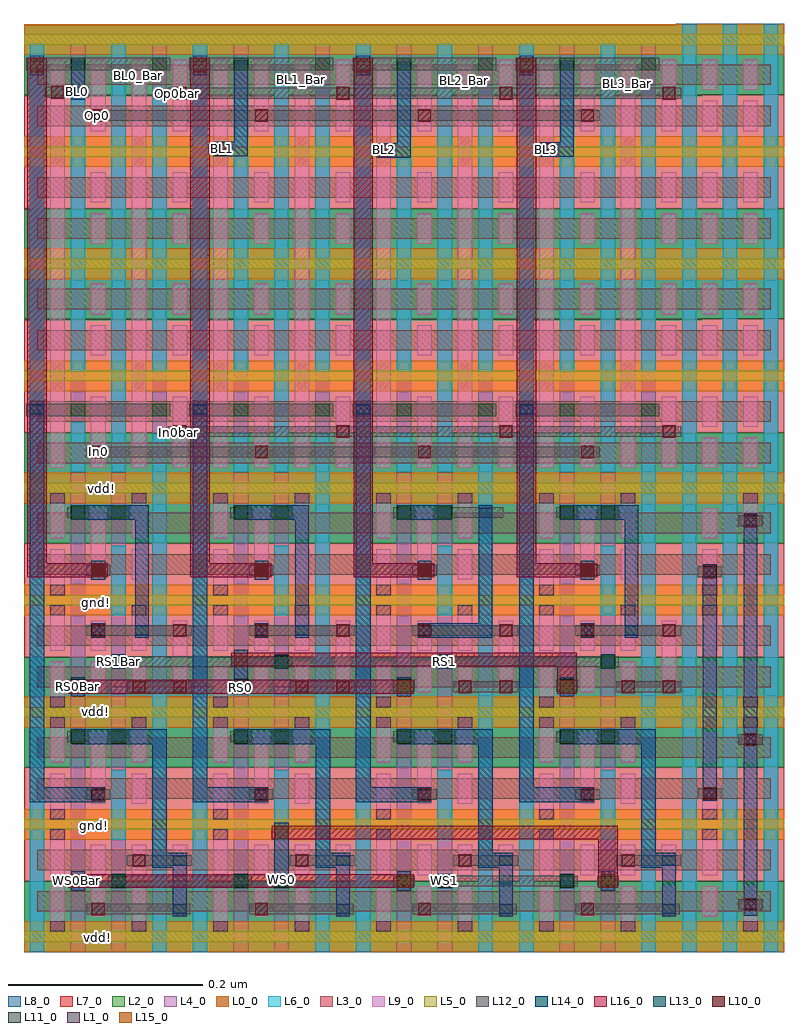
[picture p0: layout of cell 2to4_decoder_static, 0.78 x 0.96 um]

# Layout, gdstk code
from math import pi, radians
import gdstk
lib = gdstk.Library(unit=1e-6, precision=5e-10)
def R(c, l, rs):  # rectangles x0, y0, x1, y1
    for r in rs: c.add(gdstk.rectangle(r[:2], r[2:], *l))
def A(c, l, x, y, w, h, nx, ny, dx, dy):  # array of equal rectangles
    R(c, l, [(x+i*dx, y+j*dy, x+i*dx+w, y+j*dy+h) for i in range(nx) for j in range(ny)])
L0_0 = (0, 0)
L1_0 = (1, 0)
L2_0 = (2, 0)
L3_0 = (3, 0)
L4_0 = (4, 0)
L5_0 = (5, 0)
L6_0 = (6, 0)
L7_0 = (7, 0)
L8_0 = (8, 0)
L9_0 = (9, 0)
L10_0 = (10, 0)
L11_0 = (11, 0)
L12_0 = (12, 0)
L13_0 = (13, 0)
L14_0 = (14, 0)
L15_0 = (15, 0)
L16_0 = (16, 0)

pmos = lib.new_cell('pmos')
R(pmos, L2_0, [(-0.042,-0.0205,0.042,0.0205)])
R(pmos, L3_0, [(-0.042,-0.0105,0.042,0.0105)])
A(pmos, L4_0, -0.0495, -0.032, 0.015, 0.064, 3, 1, 0.042, 0)
R(pmos, L8_0, [(-0.0555,-0.0205,0.0555,0.0205)])
R(pmos, L9_0, [(-0.0285,-0.0155,-0.0135,0.0155), (0.0135,-0.0155,0.0285,0.0155)])

gate_m0b = lib.new_cell('GATE_M0B')
R(gate_m0b, L4_0, [(-0.0075,-0.0115,0.0075,0.0115)])
R(gate_m0b, L11_0, [(-0.0075,-0.0065,0.0075,0.0065)])
R(gate_m0b, L12_0, [(-0.011,-0.0055,0.011,0.0055)])

bpr_m0a = lib.new_cell('BPR_M0A')
R(bpr_m0a, L0_0, [(-0.021,-0.0055,0.021,0.026)])
R(bpr_m0a, L1_0, [(-0.0075,-0.0055,0.0075,0.005)])
R(bpr_m0a, L9_0, [(-0.0075,-0.0165,0.0075,0.005)])

nmos = lib.new_cell('nmos')
R(nmos, L3_0, [(-0.042,-0.0105,0.042,0.0105)])
A(nmos, L4_0, -0.0495, -0.032, 0.015, 0.064, 3, 1, 0.042, 0)
R(nmos, L7_0, [(-0.0555,-0.021,0.0555,0.0205)])
R(nmos, L9_0, [(-0.0285,-0.0155,-0.0135,0.0155), (0.0135,-0.0155,0.0285,0.0155)])

m0b_m1 = lib.new_cell('M0B_M1')
R(m0b_m1, L12_0, [(-0.011,-0.005,0.011,0.005)])
R(m0b_m1, L13_0, [(-0.007,-0.005,0.007,0.005)])
R(m0b_m1, L14_0, [(-0.007,-0.0075,0.007,0.0075)])

m0a_m0b = lib.new_cell('M0A_M0B')
R(m0a_m0b, L9_0, [(-0.0075,-0.0055,0.0075,0.0055)])
R(m0a_m0b, L10_0, [(-0.0065,-0.0065,0.0065,0.0065)])
R(m0a_m0b, L12_0, [(-0.0125,-0.0055,0.0125,0.0055)])

nor = lib.new_cell('nor')
R(nor, L0_0, [(0.157,0.0005,0.352,0.032), (0.186,0.009,0.1965,0.016), (0.157,0.116,0.352,0.1475), (0.1885,0.1335,0.1945,0.1415)])
R(nor, L2_0, [(0.157,0.075,0.352,0.1325)])
A(nor, L4_0, 0.163, 0.0005, 0.015, 0.147, 5, 1, 0.042, 0)
R(nor, L5_0, [(0.157,0.011,0.352,0.0215), (0.157,0.1265,0.352,0.137)])
R(nor, L6_0, [(0.163,0.0005,0.178,0.1475), (0.289,0.0005,0.304,0.1475), (0.331,0.0005,0.346,0.1475)])
R(nor, L7_0, [(0.157,0.0005,0.352,0.075)])
R(nor, L8_0, [(0.157,0.075,0.352,0.148)])
R(nor, L9_0, [(0.31,0.0635,0.325,0.0955)])
R(nor, L12_0, [(0.221,0.042,0.325,0.053), (0.263,0.1,0.33,0.111)])
R(nor, L14_0, [(0.2315,0.0455,0.2355,0.0495), (0.253,0.0775,0.2565,0.0805), (0.209,0.1035,0.2155,0.1085)])
nor.add(gdstk.Reference(bpr_m0a, (0.1915,0.1215)))
nor.add(gdstk.Reference(bpr_m0a, (0.2755,0.0265), rotation=pi))
nor.add(gdstk.Reference(bpr_m0a, (0.1915,0.0265), rotation=pi))
nor.add(gdstk.Reference(nmos, (0.2965,0.053)))
nor.add(gdstk.Reference(nmos, (0.2545,0.053)))
nor.add(gdstk.Reference(nmos, (0.2125,0.053)))
nor.add(gdstk.Reference(pmos, (0.2965,0.0955)))
nor.add(gdstk.Reference(pmos, (0.2545,0.0955)))
nor.add(gdstk.Reference(pmos, (0.2125,0.0955)))
nor.add(gdstk.Reference(m0b_m1, (0.2545,0.0795)))
nor.add(gdstk.Reference(m0b_m1, (0.2125,0.1055)))
nor.add(gdstk.Reference(m0b_m1, (0.2335,0.0475)))
nor.add(gdstk.Reference(m0a_m0b, (0.3175,0.0475)))
nor.add(gdstk.Reference(m0a_m0b, (0.3175,0.1055)))
nor.add(gdstk.Reference(m0a_m0b, (0.2755,0.1055)))
nor.add(gdstk.Reference(m0a_m0b, (0.2335,0.0475)))
nor.add(gdstk.Reference(gate_m0b, (0.2545,0.0795)))
nor.add(gdstk.Reference(gate_m0b, (0.2125,0.104)))
nor.add(gdstk.Label('Y', (0.2335,0.0475), layer=14, texttype=0))
nor.add(gdstk.Label('B', (0.2545,0.079), layer=14, texttype=0))
nor.add(gdstk.Label('A', (0.212,0.106), layer=14, texttype=0))
nor.add(gdstk.Label('gnd!', (0.191,0.0125), layer=0, texttype=0))
nor.add(gdstk.Label('vdd!', (0.1915,0.1375), layer=0, texttype=0))

inv = lib.new_cell('inv')
R(inv, L0_0, [(0,0,0.153,0.0315), (0.025,0.006,0.0415,0.016), (0,0.1155,0.153,0.147), (0.11,0.131,0.125,0.1425)])
R(inv, L2_0, [(0,0.0745,0.153,0.147)])
A(inv, L4_0, 0.006, 0, 0.015, 0.147, 4, 1, 0.042, 0)
R(inv, L5_0, [(0,0.0105,0.153,0.021), (0,0.126,0.153,0.1365)])
R(inv, L6_0, [(0.006,0,0.021,0.147), (0.09,0,0.105,0.0715), (0.132,0,0.147,0.147)])
R(inv, L7_0, [(0,0,0.153,0.0745)])
R(inv, L8_0, [(0,0.075,0.153,0.1475)])
R(inv, L9_0, [(0.069,0.068,0.084,0.0795)])
R(inv, L12_0, [(0.0915,0.103,0.1055,0.1095)])
R(inv, L14_0, [(0.071,0.0415,0.0815,0.051), (0.0485,0.0985,0.1045,0.1135)])
inv.add(gdstk.Reference(nmos, (0.0975,0.0525)))
inv.add(gdstk.Reference(nmos, (0.0555,0.0525)))
inv.add(gdstk.Reference(pmos, (0.0975,0.095)))
inv.add(gdstk.Reference(pmos, (0.0555,0.095)))
inv.add(gdstk.Reference(bpr_m0a, (0.0345,0.026), rotation=pi))
inv.add(gdstk.Reference(bpr_m0a, (0.0345,0.121)))
inv.add(gdstk.Reference(bpr_m0a, (0.1185,0.121)))
inv.add(gdstk.Reference(m0a_m0b, (0.0765,0.0465)))
inv.add(gdstk.Reference(gate_m0b, (0.0555,0.106)))
inv.add(gdstk.Reference(gate_m0b, (0.0975,0.106)))
inv.add(gdstk.Reference(m0b_m1, (0.0555,0.106)))
inv.add(gdstk.Reference(m0b_m1, (0.0765,0.0465)))
inv.add(gdstk.Reference(m0b_m1, (0.0975,0.106)))
inv.add(gdstk.Label('vdd!', (0.1175,0.1365), layer=0, texttype=0))
inv.add(gdstk.Label('gnd!', (0.033,0.011), layer=0, texttype=0))
inv.add(gdstk.Label('out', (0.075,0.0435), layer=14, texttype=0))
inv.add(gdstk.Label('in', (0.0985,0.1045), layer=14, texttype=0))

nand = lib.new_cell('nand')
R(nand, L0_0, [(0.1045,0.057,0.2155,0.0885), (0.1465,0.057,0.2995,0.0885), (0.133,0.0665,0.142,0.074), (0.1045,0.1725,0.2155,0.204), (0.1465,0.1725,0.2995,0.204), (0.137,0.192,0.143,0.198)])
R(nand, L2_0, [(0.1045,0.1315,0.2155,0.204), (0.1465,0.1315,0.2995,0.204)])
A(nand, L4_0, 0.1105, 0.057, 0.015, 0.147, 5, 1, 0.042, 0)
R(nand, L4_0, [(0.2785,0.057,0.2935,0.204)])
R(nand, L5_0, [(0.1045,0.0675,0.2995,0.078), (0.1045,0.183,0.2995,0.1935)])
R(nand, L6_0, [(0.1105,0.057,0.1255,0.204), (0.2365,0.057,0.2515,0.204), (0.2785,0.057,0.2935,0.204)])
R(nand, L7_0, [(0.1045,0.057,0.2155,0.1315), (0.1465,0.057,0.2995,0.1315)])
R(nand, L8_0, [(0.1045,0.132,0.2155,0.2045), (0.1465,0.133,0.2995,0.2045)])
R(nand, L12_0, [(0.2105,0.1045,0.2775,0.1155), (0.1685,0.1545,0.276,0.1655)])
R(nand, L14_0, [(0.258,0.1025,0.272,0.1675), (0.1575,0.129,0.162,0.134), (0.2,0.1295,0.204,0.133), (0.262,0.1575,0.2675,0.1625)])
nand.add(gdstk.Reference(nmos, (0.244,0.1095), rotation=pi, x_reflection=True))
nand.add(gdstk.Reference(nmos, (0.16,0.1095), rotation=pi, x_reflection=True))
nand.add(gdstk.Reference(pmos, (0.16,0.152), rotation=pi, x_reflection=True))
nand.add(gdstk.Reference(pmos, (0.202,0.152), rotation=pi, x_reflection=True))
nand.add(gdstk.Reference(pmos, (0.244,0.152), rotation=pi, x_reflection=True))
nand.add(gdstk.Reference(bpr_m0a, (0.139,0.178), rotation=pi, x_reflection=True))
nand.add(gdstk.Reference(bpr_m0a, (0.139,0.083), x_reflection=True))
nand.add(gdstk.Reference(bpr_m0a, (0.223,0.178), rotation=pi, x_reflection=True))
nand.add(gdstk.Reference(m0a_m0b, (0.181,0.16)))
nand.add(gdstk.Reference(m0a_m0b, (0.223,0.11)))
nand.add(gdstk.Reference(m0b_m1, (0.265,0.16)))
nand.add(gdstk.Reference(m0b_m1, (0.265,0.11)))
nand.add(gdstk.Reference(m0b_m1, (0.202,0.131)))
nand.add(gdstk.Reference(m0b_m1, (0.16,0.131)))
nand.add(gdstk.Reference(gate_m0b, (0.202,0.131)))
nand.add(gdstk.Reference(gate_m0b, (0.16,0.131)))
nand.add(gdstk.Label('Y', (0.2645,0.16), layer=14, texttype=0))
nand.add(gdstk.Label('A', (0.1595,0.1315), layer=14, texttype=0))
nand.add(gdstk.Label('B', (0.202,0.131), layer=14, texttype=0))
nand.add(gdstk.Label('gnd!', (0.1375,0.07), layer=0, texttype=0))
nand.add(gdstk.Label('vdd!', (0.14,0.195), layer=0, texttype=0))

c_2to4_decoder_static_fill = lib.new_cell('2to4_decoder_static_filler_17')
R(c_2to4_decoder_static_fill, L0_0, [(0,0,0.111,0.0315), (0.071,0.0115,0.083,0.0245), (0,0.1155,0.111,0.147), (0.071,0.121,0.0845,0.141)])
R(c_2to4_decoder_static_fill, L2_0, [(0,0.0745,0.111,0.147)])
A(c_2to4_decoder_static_fill, L4_0, 0.006, 0, 0.015, 0.147, 3, 1, 0.042, 0)
R(c_2to4_decoder_static_fill, L5_0, [(0,0.0105,0.111,0.021), (0,0.126,0.111,0.1365)])
A(c_2to4_decoder_static_fill, L6_0, 0.006, 0, 0.015, 0.147, 3, 1, 0.042, 0)
R(c_2to4_decoder_static_fill, L7_0, [(0,0,0.111,0.0745)])
R(c_2to4_decoder_static_fill, L8_0, [(0,0.075,0.111,0.1475)])
c_2to4_decoder_static_fill.add(gdstk.Reference(pmos, (0.0555,0.095)))
c_2to4_decoder_static_fill.add(gdstk.Reference(nmos, (0.0555,0.0525)))

m1_m2 = lib.new_cell('M1_M2')
R(m1_m2, L14_0, [(-0.007,-0.01,0.007,0.01)])
R(m1_m2, L15_0, [(-0.007,-0.007,0.007,0.007)])
R(m1_m2, L16_0, [(-0.01,-0.007,0.01,0.007)])

c_2to4_decoder_static = lib.new_cell('2to4_decoder_static')
A(c_2to4_decoder_static, L0_0, 0, 0, 0.783, 0.0315, 1, 6, 0, 0.1155)
A(c_2to4_decoder_static, L0_0, 0, 0.462, 0.699, 0.0315, 1, 3, 0, 0.1155)
R(c_2to4_decoder_static, L0_0, [(0.0695,0.0085,0.082,0.022), (0.0685,0.127,0.077,0.1345), (0.123,0.231,0.247,0.2625), (0.2945,0.231,0.4185,0.2625), (0.4715,0.231,0.5955,0.2625), (0.569,0.231,0.693,0.2625), (0.067,0.241,0.0805,0.2545), (0.064,0.3525,0.0855,0.368), (0,0.462,0.699,0.4935), (0.073,0.4725,0.0865,0.482), (0,0.693,0.699,0.7245), (0,0.8085,0.699,0.84), (0,0.8085,0.699,0.84), (0,0.924,0.699,0.9555)])
R(c_2to4_decoder_static, L2_0, [(0,0.19,0.783,0.3035), (0,0.421,0.783,0.5345), (0,0.6505,0.699,0.7235), (0,0.692,0.699,0.765), (0,0.8815,0.699,0.9545)])
A(c_2to4_decoder_static, L3_0, 0.1395, 0.1575, 0.042, 0.021, 4, 2, 0.168, 0.0425)
A(c_2to4_decoder_static, L3_0, 0.3075, 0.3885, 0.042, 0.021, 3, 2, 0.168, 0.0425)
R(c_2to4_decoder_static, L3_0, [(0.1395,0.3885,0.1815,0.4095), (0.3075,0.3885,0.3495,0.4095), (0.1395,0.431,0.1815,0.452), (0.3075,0.431,0.3495,0.452)])
A(c_2to4_decoder_static, L4_0, 0.006, 0.581, 0.015, 0.034, 16, 2, 0.042, 0.231)
A(c_2to4_decoder_static, L4_0, 0.048, 0.695, 0.015, 0.0605, 15, 1, 0.042, 0)
A(c_2to4_decoder_static, L4_0, 0.048, 0.8005, 0.015, 0.034, 16, 1, 0.042, 0)
R(c_2to4_decoder_static, L4_0, [(0.006,0,0.021,0.8005), (0.678,0,0.693,0.9545), (0.678,0.231,0.693,0.4935), (0.342,0.582,0.357,0.607), (0.678,0.582,0.693,0.607), (0.342,0.615,0.357,0.692), (0.678,0.615,0.693,0.692), (0.342,0.7235,0.357,0.8005), (0.006,0.8085,0.021,0.8335), (0.342,0.8085,0.357,0.8335), (0.342,0.813,0.357,0.838), (0.678,0.813,0.693,0.838), (0.342,0.846,0.357,0.923), (0.678,0.846,0.693,0.923)])
A(c_2to4_decoder_static, L5_0, 0, 0.4725, 0.699, 0.0105, 1, 3, 0, 0.1155)
R(c_2to4_decoder_static, L5_0, [(0,0.7035,0.699,0.714), (0,0.819,0.699,0.8295), (0,0.819,0.699,0.8295), (0,0.9345,0.699,0.945)])
A(c_2to4_decoder_static, L6_0, 0.09, 0.494, 0.015, 0.0395, 4, 1, 0.168, 0)
A(c_2to4_decoder_static, L6_0, 0.216, 0.494, 0.015, 0.04, 3, 1, 0.168, 0)
A(c_2to4_decoder_static, L6_0, 0.174, 0.505, 0.015, 0.107, 6, 1, 0.084, 0)
A(c_2to4_decoder_static, L6_0, 0.048, 0.5975, 0.015, 0.051, 4, 1, 0.084, 0)
A(c_2to4_decoder_static, L6_0, 0.09, 0.5975, 0.015, 0.106, 7, 1, 0.084, 0)
A(c_2to4_decoder_static, L6_0, 0.384, 0.5975, 0.015, 0.051, 4, 1, 0.084, 0)
A(c_2to4_decoder_static, L6_0, 0.3, 0.6405, 0.015, 0.239, 3, 1, 0.084, 0)
A(c_2to4_decoder_static, L6_0, 0.09, 0.692, 0.015, 0.126, 5, 1, 0.084, 0)
A(c_2to4_decoder_static, L6_0, 0.048, 0.767, 0.015, 0.051, 3, 2, 0.084, 0.0615)
A(c_2to4_decoder_static, L6_0, 0.09, 0.767, 0.015, 0.1125, 8, 1, 0.084, 0)
A(c_2to4_decoder_static, L6_0, 0.3, 0.767, 0.015, 0.051, 3, 2, 0.042, 0.0615)
A(c_2to4_decoder_static, L6_0, 0.09, 0.8285, 0.015, 0.107, 7, 1, 0.084, 0)
R(c_2to4_decoder_static, L6_0, [(0.678,0,0.693,0.9545), (0.006,0.482,0.021,0.9355), (0.132,0.482,0.147,0.5335), (0.174,0.482,0.189,0.5335), (0.3,0.482,0.315,0.5335), (0.342,0.482,0.357,0.5335), (0.468,0.482,0.483,0.5335), (0.51,0.482,0.525,0.5305), (0.636,0.482,0.651,0.5335), (0.342,0.4825,0.357,0.5335), (0.048,0.494,0.063,0.5455), (0.09,0.494,0.105,0.601), (0.342,0.5975,0.357,0.6485), (0.678,0.5975,0.693,0.6485), (0.132,0.623,0.147,0.8795), (0.552,0.63,0.567,0.8795), (0.048,0.6405,0.063,0.8795), (0.636,0.6405,0.651,0.8795), (0.216,0.6485,0.231,0.8795), (0.51,0.673,0.525,0.818), (0.594,0.673,0.609,0.818), (0.006,0.767,0.021,0.818), (0.216,0.767,0.231,0.818), (0.3,0.767,0.315,0.818), (0.384,0.767,0.399,0.818), (0.468,0.767,0.483,0.818), (0.468,0.767,0.483,0.818), (0.552,0.767,0.567,0.818), (0.552,0.767,0.567,0.818), (0.636,0.767,0.651,0.818), (0.636,0.767,0.651,0.818), (0.216,0.8285,0.231,0.8795), (0.3,0.8285,0.315,0.8795), (0.384,0.8285,0.399,0.8795), (0.468,0.8285,0.483,0.8795), (0.468,0.8285,0.483,0.8795), (0.552,0.8285,0.567,0.8795), (0.552,0.8285,0.567,0.8795), (0.636,0.8285,0.651,0.8795), (0.636,0.8285,0.651,0.8795), (0.678,0.8285,0.693,0.8795)])
A(c_2to4_decoder_static, L7_0, 0, 0.0725, 0.699, 0.1175, 1, 4, 0, 0.231)
R(c_2to4_decoder_static, L8_0, [(0,0.19,0.699,0.3035), (0,0.421,0.699,0.5345), (0,0.427,0.699,0.5345), (0,0.652,0.699,0.724), (0,0.6915,0.699,0.7645), (0,0.883,0.699,0.955)])
A(c_2to4_decoder_static, L9_0, 0.153, 0.5095, 0.015, 0.046, 4, 1, 0.168, 0)
A(c_2to4_decoder_static, L9_0, 0.069, 0.5245, 0.015, 0.047, 4, 1, 0.168, 0)
A(c_2to4_decoder_static, L9_0, 0.069, 0.8715, 0.015, 0.0215, 8, 1, 0.084, 0)
R(c_2to4_decoder_static, L9_0, [(0.279,0.5205,0.294,0.851), (0.615,0.5205,0.63,0.852), (0.195,0.5225,0.21,0.8435), (0.531,0.5225,0.546,0.8435), (0.111,0.526,0.126,0.847), (0.447,0.526,0.462,0.847), (0.027,0.528,0.042,0.849), (0.363,0.528,0.378,0.849), (0.363,0.817,0.378,0.853), (0.531,0.818,0.546,0.854), (0.195,0.8185,0.21,0.8545), (0.447,0.8675,0.462,0.8925), (0.615,0.8685,0.63,0.888), (0.279,0.869,0.294,0.8885), (0.363,0.87,0.378,0.888), (0.531,0.871,0.546,0.889), (0.111,0.8715,0.126,0.891), (0.195,0.8715,0.21,0.8895), (0.027,0.874,0.042,0.892), (0.618,0.8915,0.626,0.898), (0.4495,0.8945,0.459,0.902), (0.2815,0.8955,0.2905,0.9025), (0.1145,0.901,0.1215,0.904), (0.447,0.9035,0.462,0.9145), (0.615,0.9045,0.63,0.9155), (0.279,0.905,0.294,0.916), (0.111,0.9075,0.126,0.9185)])
A(c_2to4_decoder_static, L12_0, 0.0025, 0.5515, 0.065, 0.013, 4, 1, 0.168, 0)
A(c_2to4_decoder_static, L12_0, 0.0445, 0.5515, 0.106, 0.013, 4, 2, 0.168, 0.3565)
R(c_2to4_decoder_static, L12_0, [(0.0865,0.0675,0.2345,0.0785), (0.4225,0.0675,0.5705,0.0785), (0.4275,0.0695,0.439,0.0765), (0.0885,0.0705,0.103,0.075), (0.0865,0.2935,0.2765,0.3045), (0.4225,0.2935,0.6125,0.3045), (0.4225,0.447,0.494,0.458), (0.064,0.5095,0.593,0.5205), (0.07,0.5125,0.083,0.5175), (0.148,0.5305,0.677,0.5415), (0.1555,0.532,0.1635,0.5385), (0.064,0.856,0.593,0.867), (0.072,0.86,0.079,0.8645), (0.148,0.879,0.677,0.89), (0.022,0.88,0.0665,0.891), (0.1555,0.8825,0.1605,0.8865), (0.0025,0.908,0.0665,0.921), (0.1705,0.908,0.2325,0.921), (0.3385,0.908,0.4025,0.921), (0.5065,0.908,0.5705,0.921)])
A(c_2to4_decoder_static, L14_0, 0.006, 0.154, 0.015, 0.4135, 4, 1, 0.168, 0)
A(c_2to4_decoder_static, L14_0, 0.006, 0.154, 0.0775, 0.0155, 4, 1, 0.168, 0)
R(c_2to4_decoder_static, L14_0, [(0.7415,0.037,0.7555,0.4515), (0.258,0.0655,0.273,0.133), (0.258,0.07,0.273,0.079), (0.132,0.0865,0.1675,0.102), (0.3005,0.0865,0.336,0.102), (0.468,0.0865,0.5035,0.102), (0.636,0.0865,0.6715,0.102), (0.132,0.0885,0.147,0.229), (0.3005,0.0885,0.3155,0.229), (0.468,0.0885,0.483,0.229), (0.636,0.0885,0.651,0.229), (0.6995,0.1555,0.7135,0.399), (0.0975,0.214,0.147,0.229), (0.266,0.214,0.3155,0.229), (0.4335,0.214,0.483,0.229), (0.6015,0.214,0.651,0.229), (0.049,0.267,0.061,0.2795), (0.2165,0.2685,0.2305,0.311), (0.2195,0.2695,0.227,0.2755), (0.091,0.293,0.104,0.3055), (0.4285,0.295,0.439,0.3015), (0.1145,0.3235,0.1285,0.46), (0.2795,0.3235,0.2935,0.46), (0.4055,0.3235,0.4825,0.3385), (0.4685,0.3235,0.4825,0.46), (0.619,0.3235,0.633,0.46), (0.084,0.445,0.1285,0.46), (0.249,0.445,0.2935,0.46), (0.5885,0.445,0.633,0.46), (0.3635,0.818,0.3985,0.833), (0.3845,0.818,0.3985,0.917), (0.5315,0.819,0.5665,0.834), (0.5525,0.819,0.5665,0.918), (0.1955,0.8195,0.2305,0.8345), (0.2165,0.8195,0.2305,0.9185), (0.367,0.823,0.376,0.829), (0.2,0.8235,0.209,0.8315), (0.535,0.8235,0.542,0.8305), (0.0485,0.878,0.0625,0.921), (0.05,0.8825,0.06,0.89)])
R(c_2to4_decoder_static, L16_0, [(0.0455,0.066,0.4015,0.08), (0.0455,0.066,0.063,0.08), (0.5915,0.066,0.6115,0.13), (0.2555,0.116,0.609,0.13), (0.0455,0.266,0.4015,0.28), (0.5495,0.266,0.5695,0.308), (0.2135,0.294,0.5695,0.308), (0.0035,0.386,0.0235,0.921), (0.0035,0.386,0.0865,0.4), (0.1715,0.386,0.252,0.4), (0.1715,0.386,0.1915,0.921), (0.3395,0.386,0.3595,0.9205), (0.3395,0.386,0.4225,0.4), (0.5075,0.386,0.588,0.4), (0.5075,0.3865,0.5275,0.921)])
c_2to4_decoder_static.add(gdstk.Reference(pmos, (0.6435,0.745), rotation=pi))
c_2to4_decoder_static.add(gdstk.Reference(pmos, (0.1395,0.745), rotation=pi))
c_2to4_decoder_static.add(gdstk.Reference(pmos, (0.0555,0.745), rotation=pi))
c_2to4_decoder_static.add(gdstk.Reference(pmos, (0.3075,0.745), rotation=pi))
c_2to4_decoder_static.add(gdstk.Reference(pmos, (0.2235,0.745), rotation=pi))
c_2to4_decoder_static.add(gdstk.Reference(pmos, (0.5595,0.745), rotation=pi))
c_2to4_decoder_static.add(gdstk.Reference(pmos, (0.4755,0.745), rotation=pi))
c_2to4_decoder_static.add(gdstk.Reference(pmos, (0.3915,0.745), rotation=pi))
c_2to4_decoder_static.add(gdstk.Reference(pmos, (0.6435,0.6725)))
c_2to4_decoder_static.add(gdstk.Reference(pmos, (0.3915,0.514)))
c_2to4_decoder_static.add(gdstk.Reference(pmos, (0.4755,0.514)))
c_2to4_decoder_static.add(gdstk.Reference(pmos, (0.5595,0.514)))
c_2to4_decoder_static.add(gdstk.Reference(pmos, (0.6435,0.514)))
c_2to4_decoder_static.add(gdstk.Reference(pmos, (0.5595,0.9035)))
c_2to4_decoder_static.add(gdstk.Reference(pmos, (0.6435,0.9035)))
c_2to4_decoder_static.add(gdstk.Reference(pmos, (0.5595,0.6725)))
c_2to4_decoder_static.add(gdstk.Reference(pmos, (0.0555,0.6725)))
c_2to4_decoder_static.add(gdstk.Reference(pmos, (0.3915,0.9035)))
c_2to4_decoder_static.add(gdstk.Reference(pmos, (0.4755,0.9035)))
c_2to4_decoder_static.add(gdstk.Reference(pmos, (0.2235,0.514)))
c_2to4_decoder_static.add(gdstk.Reference(pmos, (0.3075,0.514)))
c_2to4_decoder_static.add(gdstk.Reference(pmos, (0.0555,0.9035)))
c_2to4_decoder_static.add(gdstk.Reference(pmos, (0.1395,0.9035)))
c_2to4_decoder_static.add(gdstk.Reference(pmos, (0.2235,0.9035)))
c_2to4_decoder_static.add(gdstk.Reference(pmos, (0.0555,0.514)))
c_2to4_decoder_static.add(gdstk.Reference(pmos, (0.2235,0.6725)))
c_2to4_decoder_static.add(gdstk.Reference(pmos, (0.1395,0.514)))
c_2to4_decoder_static.add(gdstk.Reference(pmos, (0.3075,0.9035)))
c_2to4_decoder_static.add(gdstk.Reference(pmos, (0.1395,0.6725)))
c_2to4_decoder_static.add(gdstk.Reference(pmos, (0.3075,0.6725)))
c_2to4_decoder_static.add(gdstk.Reference(pmos, (0.4755,0.6725)))
c_2to4_decoder_static.add(gdstk.Reference(pmos, (0.3915,0.6725)))
c_2to4_decoder_static.add(gdstk.Reference(gate_m0b, (0.6435,0.558)))
c_2to4_decoder_static.add(gdstk.Reference(gate_m0b, (0.5595,0.558)))
c_2to4_decoder_static.add(gdstk.Reference(gate_m0b, (0.4755,0.558)))
c_2to4_decoder_static.add(gdstk.Reference(gate_m0b, (0.3915,0.558)))
c_2to4_decoder_static.add(gdstk.Reference(gate_m0b, (0.2235,0.558)))
c_2to4_decoder_static.add(gdstk.Reference(gate_m0b, (0.3075,0.558)))
c_2to4_decoder_static.add(gdstk.Reference(gate_m0b, (0.6435,0.9145)))
c_2to4_decoder_static.add(gdstk.Reference(gate_m0b, (0.5595,0.9145)))
c_2to4_decoder_static.add(gdstk.Reference(gate_m0b, (0.4755,0.9145)))
c_2to4_decoder_static.add(gdstk.Reference(gate_m0b, (0.3915,0.9145)))
c_2to4_decoder_static.add(gdstk.Reference(gate_m0b, (0.2235,0.9145)))
c_2to4_decoder_static.add(gdstk.Reference(gate_m0b, (0.3075,0.9145)))
c_2to4_decoder_static.add(gdstk.Reference(gate_m0b, (0.0555,0.558)))
c_2to4_decoder_static.add(gdstk.Reference(gate_m0b, (0.1395,0.558)))
c_2to4_decoder_static.add(gdstk.Reference(gate_m0b, (0.0555,0.9145)))
c_2to4_decoder_static.add(gdstk.Reference(gate_m0b, (0.1395,0.9145)))
c_2to4_decoder_static.add(gdstk.Reference(nor, (0.347,0.3785), x_reflection=True))
c_2to4_decoder_static.add(gdstk.Reference(nor, (0.179,0.3785), x_reflection=True))
c_2to4_decoder_static.add(gdstk.Reference(nor, (0.011,0.3785), x_reflection=True))
c_2to4_decoder_static.add(gdstk.Reference(nor, (-0.157,0.3785), x_reflection=True))
c_2to4_decoder_static.add(gdstk.Reference(nmos, (0.6435,0.7875), rotation=pi))
c_2to4_decoder_static.add(gdstk.Reference(nmos, (0.4755,0.7875), rotation=pi))
c_2to4_decoder_static.add(gdstk.Reference(nmos, (0.3915,0.7875), rotation=pi))
c_2to4_decoder_static.add(gdstk.Reference(nmos, (0.3075,0.7875), rotation=pi))
c_2to4_decoder_static.add(gdstk.Reference(nmos, (0.5595,0.7875), rotation=pi))
c_2to4_decoder_static.add(gdstk.Reference(nmos, (0.1395,0.63)))
c_2to4_decoder_static.add(gdstk.Reference(nmos, (0.6435,0.5565)))
c_2to4_decoder_static.add(gdstk.Reference(nmos, (0.5595,0.5565)))
c_2to4_decoder_static.add(gdstk.Reference(nmos, (0.4755,0.5565)))
c_2to4_decoder_static.add(gdstk.Reference(nmos, (0.3915,0.5565)))
c_2to4_decoder_static.add(gdstk.Reference(nmos, (0.6435,0.63)))
c_2to4_decoder_static.add(gdstk.Reference(nmos, (0.4755,0.63)))
c_2to4_decoder_static.add(gdstk.Reference(nmos, (0.3915,0.63)))
c_2to4_decoder_static.add(gdstk.Reference(nmos, (0.0555,0.63)))
c_2to4_decoder_static.add(gdstk.Reference(nmos, (0.2235,0.5565)))
c_2to4_decoder_static.add(gdstk.Reference(nmos, (0.3075,0.5565)))
c_2to4_decoder_static.add(gdstk.Reference(nmos, (0.2235,0.861)))
c_2to4_decoder_static.add(gdstk.Reference(nmos, (0.3075,0.861)))
c_2to4_decoder_static.add(gdstk.Reference(nmos, (0.3915,0.861)))
c_2to4_decoder_static.add(gdstk.Reference(nmos, (0.2235,0.63)))
c_2to4_decoder_static.add(gdstk.Reference(nmos, (0.2235,0.7875), rotation=pi))
c_2to4_decoder_static.add(gdstk.Reference(nmos, (0.1395,0.7875), rotation=pi))
c_2to4_decoder_static.add(gdstk.Reference(nmos, (0.0555,0.5565)))
c_2to4_decoder_static.add(gdstk.Reference(nmos, (0.1395,0.5565)))
c_2to4_decoder_static.add(gdstk.Reference(nmos, (0.0555,0.861)))
c_2to4_decoder_static.add(gdstk.Reference(nmos, (0.5595,0.63)))
c_2to4_decoder_static.add(gdstk.Reference(nmos, (0.1395,0.861)))
c_2to4_decoder_static.add(gdstk.Reference(nmos, (0.6435,0.861)))
c_2to4_decoder_static.add(gdstk.Reference(nmos, (0.5595,0.861)))
c_2to4_decoder_static.add(gdstk.Reference(nmos, (0.4755,0.861)))
c_2to4_decoder_static.add(gdstk.Reference(nmos, (0.0555,0.7875), rotation=pi))
c_2to4_decoder_static.add(gdstk.Reference(nmos, (0.3075,0.63)))
c_2to4_decoder_static.add(gdstk.Reference(inv, (0.336,0.3465)))
c_2to4_decoder_static.add(gdstk.Reference(inv, (0.504,0.3465)))
c_2to4_decoder_static.add(gdstk.Reference(inv, (0.168,0.3465)))
c_2to4_decoder_static.add(gdstk.Reference(inv, (0,0.3465)))
c_2to4_decoder_static.add(gdstk.Reference(inv, (0.504,0.1155)))
c_2to4_decoder_static.add(gdstk.Reference(inv, (0.336,0.1155)))
c_2to4_decoder_static.add(gdstk.Reference(inv, (0.168,0.1155)))
c_2to4_decoder_static.add(gdstk.Reference(inv, (0,0.1155)))
c_2to4_decoder_static.add(gdstk.Reference(nand, (-0.1045,0.204), x_reflection=True))
c_2to4_decoder_static.add(gdstk.Reference(nand, (0.0635,0.204), x_reflection=True))
c_2to4_decoder_static.add(gdstk.Reference(nand, (0.2315,0.204), x_reflection=True))
c_2to4_decoder_static.add(gdstk.Reference(nand, (0.3995,0.204), x_reflection=True))
c_2to4_decoder_static.add(gdstk.Reference(m0b_m1, (0.4755,0.452)))
c_2to4_decoder_static.add(gdstk.Reference(m0b_m1, (0.5175,0.913)))
c_2to4_decoder_static.add(gdstk.Reference(m0b_m1, (0.7065,0.163)))
c_2to4_decoder_static.add(gdstk.Reference(m0b_m1, (0.7065,0.3915)))
c_2to4_decoder_static.add(gdstk.Reference(m0b_m1, (0.7485,0.2185)))
c_2to4_decoder_static.add(gdstk.Reference(m0b_m1, (0.7485,0.444)))
c_2to4_decoder_static.add(gdstk.Reference(m0b_m1, (0.3495,0.913)))
c_2to4_decoder_static.add(gdstk.Reference(m0b_m1, (0.5385,0.8265)))
c_2to4_decoder_static.add(gdstk.Reference(m0b_m1, (0.3705,0.8255)))
c_2to4_decoder_static.add(gdstk.Reference(m0b_m1, (0.2025,0.827)))
c_2to4_decoder_static.add(gdstk.Reference(m0b_m1, (0.0555,0.8855)))
c_2to4_decoder_static.add(gdstk.Reference(m0b_m1, (0.7485,0.0485)))
c_2to4_decoder_static.add(gdstk.Reference(m0b_m1, (0.5175,0.5585)))
c_2to4_decoder_static.add(gdstk.Reference(m0b_m1, (0.3495,0.5585)))
c_2to4_decoder_static.add(gdstk.Reference(m0b_m1, (0.1815,0.5585)))
c_2to4_decoder_static.add(gdstk.Reference(m0b_m1, (0.0135,0.5585)))
c_2to4_decoder_static.add(gdstk.Reference(m0b_m1, (0.626,0.331)))
c_2to4_decoder_static.add(gdstk.Reference(m0b_m1, (0.0135,0.913)))
c_2to4_decoder_static.add(gdstk.Reference(m0b_m1, (0.1215,0.331)))
c_2to4_decoder_static.add(gdstk.Reference(m0b_m1, (0.1815,0.913)))
c_2to4_decoder_static.add(gdstk.Reference(m0b_m1, (0.2865,0.331)))
c_2to4_decoder_static.add(gdstk.Reference(m0a_m0b, (0.7065,0.163)))
c_2to4_decoder_static.add(gdstk.Reference(m0a_m0b, (0.7065,0.3915)))
c_2to4_decoder_static.add(gdstk.Reference(m0a_m0b, (0.7485,0.444)))
c_2to4_decoder_static.add(gdstk.Reference(m0a_m0b, (0.7485,0.2185)))
c_2to4_decoder_static.add(gdstk.Reference(m0a_m0b, (0.5385,0.8265)))
c_2to4_decoder_static.add(gdstk.Reference(m0a_m0b, (0.3705,0.8255)))
c_2to4_decoder_static.add(gdstk.Reference(m0a_m0b, (0.2025,0.827)))
c_2to4_decoder_static.add(gdstk.Reference(m0a_m0b, (0.0345,0.8855)))
c_2to4_decoder_static.add(gdstk.Reference(m0a_m0b, (0.5805,0.515)))
c_2to4_decoder_static.add(gdstk.Reference(m0a_m0b, (0.6645,0.536)))
c_2to4_decoder_static.add(gdstk.Reference(m0a_m0b, (0.4125,0.515)))
c_2to4_decoder_static.add(gdstk.Reference(m0a_m0b, (0.4965,0.536)))
c_2to4_decoder_static.add(gdstk.Reference(m0a_m0b, (0.3285,0.536)))
c_2to4_decoder_static.add(gdstk.Reference(m0a_m0b, (0.2445,0.515)))
c_2to4_decoder_static.add(gdstk.Reference(m0a_m0b, (0.1605,0.536)))
c_2to4_decoder_static.add(gdstk.Reference(m0a_m0b, (0.0765,0.515)))
c_2to4_decoder_static.add(gdstk.Reference(m0a_m0b, (0.5805,0.8615)))
c_2to4_decoder_static.add(gdstk.Reference(m0a_m0b, (0.6645,0.8845)))
c_2to4_decoder_static.add(gdstk.Reference(m0a_m0b, (0.4125,0.8615)))
c_2to4_decoder_static.add(gdstk.Reference(m0a_m0b, (0.4965,0.8845)))
c_2to4_decoder_static.add(gdstk.Reference(m0a_m0b, (0.2445,0.8615)))
c_2to4_decoder_static.add(gdstk.Reference(m0a_m0b, (0.3285,0.8845)))
c_2to4_decoder_static.add(gdstk.Reference(m0a_m0b, (0.1605,0.8845)))
c_2to4_decoder_static.add(gdstk.Reference(m0a_m0b, (0.0765,0.8615)))
c_2to4_decoder_static.add(gdstk.Reference(m0a_m0b, (0.7485,0.0485)))
c_2to4_decoder_static.add(gdstk.Reference(bpr_m0a, (0.7065,0.1415), rotation=pi))
c_2to4_decoder_static.add(gdstk.Reference(bpr_m0a, (0.7065,0.121)))
c_2to4_decoder_static.add(gdstk.Reference(bpr_m0a, (0.7065,0.352)))
c_2to4_decoder_static.add(gdstk.Reference(bpr_m0a, (0.7065,0.3725), rotation=pi))
c_2to4_decoder_static.add(gdstk.Reference(bpr_m0a, (0.7485,0.4675)))
c_2to4_decoder_static.add(gdstk.Reference(bpr_m0a, (0.7485,0.026), rotation=pi))
c_2to4_decoder_static.add(gdstk.Reference(bpr_m0a, (0.7485,0.2365)))
c_2to4_decoder_static.add(gdstk.Reference(bpr_m0a, (0.7485,0.257), rotation=pi))
c_2to4_decoder_static.add(gdstk.Reference(c_2to4_decoder_static_fill, (0.783,0.147), rotation=pi))
c_2to4_decoder_static.add(gdstk.Reference(c_2to4_decoder_static_fill, (0.672,0.1155)))
c_2to4_decoder_static.add(gdstk.Reference(c_2to4_decoder_static_fill, (0.783,0.378), rotation=pi))
c_2to4_decoder_static.add(gdstk.Reference(c_2to4_decoder_static_fill, (0.672,0.3465)))
c_2to4_decoder_static.add(gdstk.Reference(c_2to4_decoder_static_fill, (0.783,0.609), rotation=pi))
c_2to4_decoder_static.add(gdstk.Reference(c_2to4_decoder_static_fill, (0.672,0.5775)))
c_2to4_decoder_static.add(gdstk.Reference(c_2to4_decoder_static_fill, (0.783,0.84), rotation=pi))
c_2to4_decoder_static.add(gdstk.Reference(c_2to4_decoder_static_fill, (0.672,0.8085)))
c_2to4_decoder_static.add(gdstk.Reference(m1_m2, (0.5595,0.273)))
c_2to4_decoder_static.add(gdstk.Reference(m1_m2, (0.2235,0.301)))
c_2to4_decoder_static.add(gdstk.Reference(m1_m2, (0.3915,0.273)))
c_2to4_decoder_static.add(gdstk.Reference(m1_m2, (0.0555,0.273)))
c_2to4_decoder_static.add(gdstk.Reference(m1_m2, (0.5175,0.913)))
c_2to4_decoder_static.add(gdstk.Reference(m1_m2, (0.3495,0.913)))
c_2to4_decoder_static.add(gdstk.Reference(m1_m2, (0.1815,0.913)))
c_2to4_decoder_static.add(gdstk.Reference(m1_m2, (0.0135,0.913)))
c_2to4_decoder_static.add(gdstk.Reference(m1_m2, (0.6015,0.073)))
c_2to4_decoder_static.add(gdstk.Reference(m1_m2, (0.2655,0.123)))
c_2to4_decoder_static.add(gdstk.Reference(m1_m2, (0.3915,0.073)))
c_2to4_decoder_static.add(gdstk.Reference(m1_m2, (0.5805,0.393)))
c_2to4_decoder_static.add(gdstk.Reference(m1_m2, (0.4125,0.393)))
c_2to4_decoder_static.add(gdstk.Reference(m1_m2, (0.0555,0.073)))
c_2to4_decoder_static.add(gdstk.Reference(m1_m2, (0.2445,0.393)))
c_2to4_decoder_static.add(gdstk.Reference(m1_m2, (0.0765,0.393)))
c_2to4_decoder_static.add(gdstk.Label('WS0Bar', (0.054,0.073), layer=16, texttype=0))
c_2to4_decoder_static.add(gdstk.Label('Op0bar', (0.158,0.8845), layer=12, texttype=0))
c_2to4_decoder_static.add(gdstk.Label('Op0', (0.0755,0.862), layer=12, texttype=0))
c_2to4_decoder_static.add(gdstk.Label('In0bar', (0.1595,0.535), layer=12, texttype=0))
c_2to4_decoder_static.add(gdstk.Label('In0', (0.0765,0.515), layer=12, texttype=0))
c_2to4_decoder_static.add(gdstk.Label('WS1', (0.433,0.073), layer=12, texttype=0))
c_2to4_decoder_static.add(gdstk.Label('vdd!', (0.0755,0.015), layer=0, texttype=0))
c_2to4_decoder_static.add(gdstk.Label('vdd!', (0.0735,0.2475), layer=0, texttype=0))
c_2to4_decoder_static.add(gdstk.Label('gnd!', (0.0725,0.1305), layer=0, texttype=0))
c_2to4_decoder_static.add(gdstk.Label('vdd!', (0.0795,0.477), layer=0, texttype=0))
c_2to4_decoder_static.add(gdstk.Label('gnd!', (0.0745,0.36), layer=0, texttype=0))
c_2to4_decoder_static.add(gdstk.Label('RS1', (0.4335,0.2985), layer=14, texttype=0))
c_2to4_decoder_static.add(gdstk.Label('RS0', (0.223,0.2725), layer=14, texttype=0))
c_2to4_decoder_static.add(gdstk.Label('RS1Bar', (0.0975,0.2995), layer=14, texttype=0))
c_2to4_decoder_static.add(gdstk.Label('RS0Bar', (0.055,0.2735), layer=14, texttype=0))
c_2to4_decoder_static.add(gdstk.Label('BL3', (0.5385,0.827), layer=14, texttype=0))
c_2to4_decoder_static.add(gdstk.Label('BL2', (0.3715,0.826), layer=14, texttype=0))
c_2to4_decoder_static.add(gdstk.Label('BL1', (0.2045,0.8275), layer=14, texttype=0))
c_2to4_decoder_static.add(gdstk.Label('BL0', (0.055,0.886), layer=14, texttype=0))
c_2to4_decoder_static.add(gdstk.Label('WS0', (0.2655,0.0745), layer=14, texttype=0))
c_2to4_decoder_static.add(gdstk.Label('WS1Bar', (0.097,0.0725), layer=14, texttype=0))
c_2to4_decoder_static.add(gdstk.Label('BL3_Bar', (0.622,0.8945), layer=9, texttype=0))
c_2to4_decoder_static.add(gdstk.Label('BL2_Bar', (0.454,0.898), layer=9, texttype=0))
c_2to4_decoder_static.add(gdstk.Label('BL1_Bar', (0.286,0.899), layer=9, texttype=0))
c_2to4_decoder_static.add(gdstk.Label('BL0_Bar', (0.118,0.9025), layer=9, texttype=0))

lib.write_gds('2to4_decoder_static.gds')
